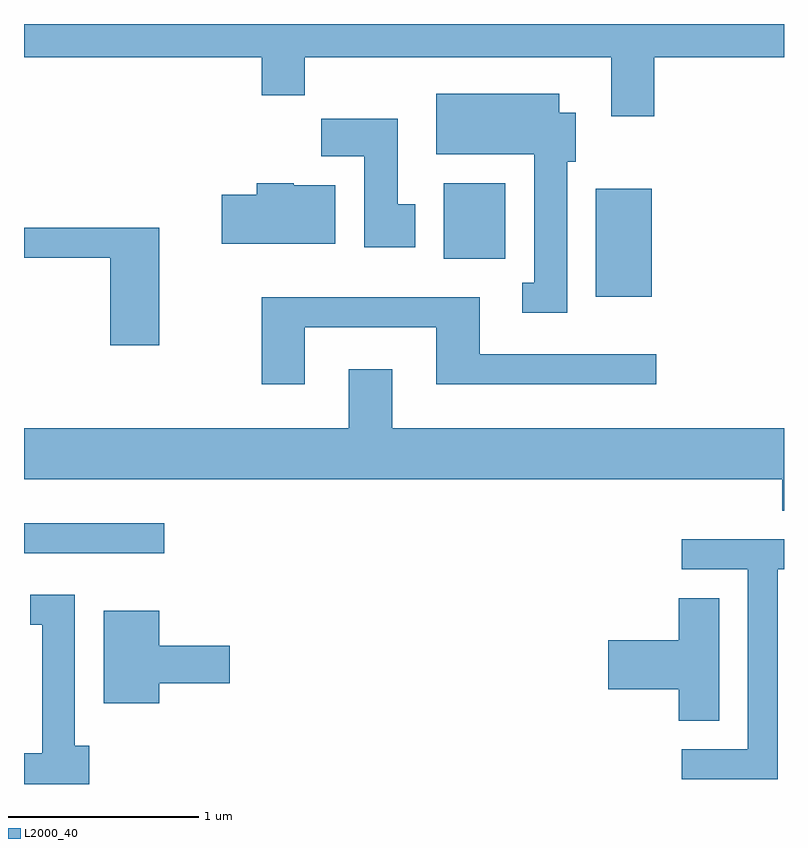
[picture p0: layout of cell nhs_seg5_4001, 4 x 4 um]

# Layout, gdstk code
import gdstk
lib = gdstk.Library(unit=1e-6, precision=1e-09)
def R(c, l, rs):  # rectangles x0, y0, x1, y1
    for r in rs: c.add(gdstk.rectangle(r[:2], r[2:], *l))
def P(c, l, *ps):  # polygons
    for p in ps: c.add(gdstk.Polygon(p, *l))
L2000_40 = (2000, 40)

nhs_seg5_4001 = lib.new_cell('nhs_seg5_4001')
R(nhs_seg5_4001, L2000_40, [(303.611,1465.286,304.348,1465.444), (306.621,1466.636,306.914,1467.204), (305.821,1466.836,306.144,1467.234)])
P(nhs_seg5_4001, L2000_40, [(306.929,1467.896),(307.611,1467.896),(307.611,1468.072),(303.611,1468.072),(303.611,1467.896),(304.861,1467.896),(304.861,1467.696),(305.089,1467.696),(305.089,1467.896),(306.701,1467.896),(306.701,1467.586),(306.929,1467.586)],
  [(306.469,1467.346),(306.514,1467.346),(306.514,1467.604),(306.429,1467.604),(306.429,1467.704),(305.781,1467.704),(305.781,1467.386),(306.296,1467.386),(306.296,1466.709),(306.233,1466.709),(306.233,1466.551),(306.469,1466.551)],
  [(305.669,1467.124),(305.579,1467.124),(305.579,1467.574),(305.176,1467.574),(305.176,1467.376),(305.401,1467.376),(305.401,1466.896),(305.669,1466.896)],
  [(305.249,1467.224),(305.03,1467.224),(305.03,1467.234),(304.836,1467.234),(304.836,1467.174),(304.651,1467.174),(304.651,1466.916),(305.249,1466.916)],
  [(304.324,1466.999),(303.611,1466.999),(303.611,1466.841),(304.066,1466.841),(304.066,1466.381),(304.324,1466.381)],
  [(305.089,1466.476),(305.781,1466.476),(305.781,1466.176),(306.938,1466.176),(306.938,1466.334),(306.009,1466.334),(306.009,1466.634),(304.861,1466.634),(304.861,1466.176),(305.089,1466.176)],
  [(307.611,1465.944),(305.549,1465.944),(305.549,1466.254),(305.321,1466.254),(305.321,1465.944),(303.611,1465.944),(303.611,1465.676),(307.601,1465.676),(307.601,1465.511),(307.611,1465.511)],
  [(307.579,1465.201),(307.611,1465.201),(307.611,1465.359),(307.073,1465.359),(307.073,1465.201),(307.421,1465.201),(307.421,1464.254),(307.073,1464.254),(307.073,1464.096),(307.579,1464.096)],
  [(303.954,1464.274),(303.879,1464.274),(303.879,1465.069),(303.643,1465.069),(303.643,1464.911),(303.706,1464.911),(303.706,1464.234),(303.611,1464.234),(303.611,1464.072),(303.954,1464.072)],
  [(307.269,1465.049),(307.056,1465.049),(307.056,1464.829),(306.686,1464.829),(306.686,1464.571),(307.056,1464.571),(307.056,1464.406),(307.269,1464.406)],
  [(304.324,1464.601),(304.694,1464.601),(304.694,1464.799),(304.324,1464.799),(304.324,1464.984),(304.031,1464.984),(304.031,1464.496),(304.324,1464.496)])

lib.write_gds('nhs_seg5_4001.gds')
